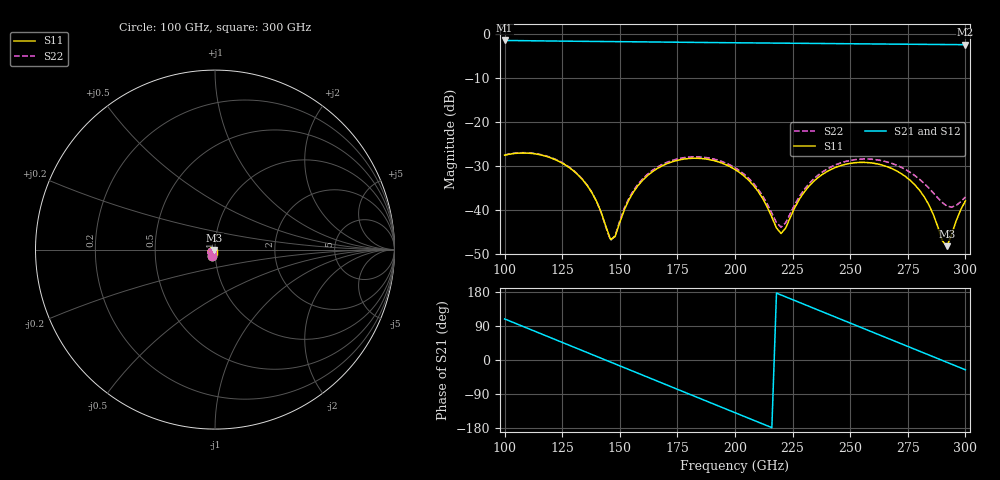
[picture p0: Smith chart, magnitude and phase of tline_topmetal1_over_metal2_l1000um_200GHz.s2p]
#  GHZ S DB R 50
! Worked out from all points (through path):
!   101 points, 100 GHz to 300 GHz, reference 50 ohm
!   highest |S21| = -1.50 dB at 100 GHz (marker M1); lowest = -2.5 dB at 300 GHz (marker M2)
!   group delay of S21, straight-line fit = 6.86 ps
!   lowest |S11| = -48.2 dB at 292 GHz (marker M3), VSWR 1.01, Z = 49.7 - j0.199 ohm
!   |S11| at or under -10 dB: start of sweep to end of sweep
!   |S22| runs from -46.9 to -27.0 dB; largest |S21 - S12| = 1.4e-13
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100  -27.55 -116.8  -1.50 108.4  -1.50 108.4  -27.51 -116.8
116  -27.53 -156.8  -1.60 68.7  -1.60 68.7  -27.44 -156.3
134  -33.21 163.4  -1.70 24.2  -1.70 24.2  -33.13 164.2
140  -38.14 157.7  -1.73 9.4  -1.73 9.4  -38.14 158.6
146  -46.71 -163.3  -1.76 -5.5  -1.76 -5.5  -46.90 -159.4
148  -45.99 -126.4  -1.77 -10.4  -1.77 -10.4  -45.82 -121.7
152  -39.91 -99.6  -1.79 -20.3  -1.79 -20.3  -39.56 -96.7
156  -35.84 -99.4  -1.81 -30.2  -1.81 -30.2  -35.51 -97.0
168  -30.08 -120.7  -1.87 -59.9  -1.87 -59.9  -29.76 -118.4
184  -28.26 -156.6  -1.95 -99.5  -1.95 -99.5  -27.93 -153.7
200  -30.80 168.9  -2.03 -139.0  -2.03 -139.0  -30.40 172.8
210  -35.75 153.8  -2.07 -163.7  -2.07 -163.7  -35.23 159.0
220  -45.33 -159.2  -2.11 171.6  -2.11 171.6  -43.89 -156.1
228  -37.51 -112.2  -2.15 151.8  -2.15 151.8  -36.90 -110.8
234  -33.57 -117.3  -2.18 137.0  -2.18 137.0  -33.02 -114.5
244  -30.26 -135.6  -2.22 112.3  -2.22 112.3  -29.66 -131.2
252  -29.27 -152.4  -2.26 92.5  -2.26 92.5  -28.56 -146.8
268  -30.57 173.4  -2.33 53.1  -2.33 53.1  -29.40 -177.2
282  -36.90 149.6  -2.39 18.6  -2.39 18.6  -33.91 166.4
290  -47.00 174.9  -2.42 -1.2  -2.42 -1.2  -38.32 179.3
292  -48.21 -149.0  -2.43 -6.1  -2.43 -6.1  -39.10 -171.3
300  -37.93 -104.4  -2.46 -25.8  -2.46 -25.8  -37.04 -134.9
